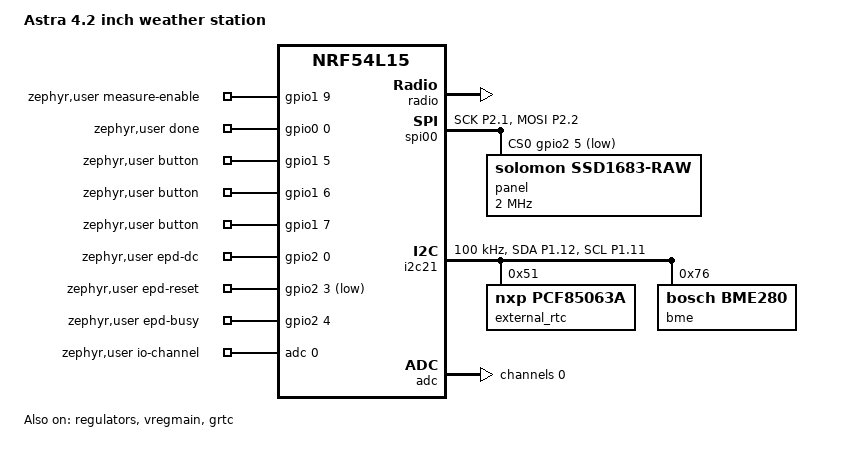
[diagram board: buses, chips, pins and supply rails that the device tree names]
/dts-v1/;
#include <nordic/nrf54l15_cpuapp.dtsi>
#include <zephyr/dt-bindings/adc/adc.h>
#include <zephyr/dt-bindings/adc/nrf-saadc-nrf54l.h>

/ {
	model = "Astra 4.2 inch weather station";
	compatible = "astra,weather-station";
	chosen {
		zephyr,sram = &cpuapp_sram;
		zephyr,flash-controller = &rram_controller;
		zephyr,flash = &cpuapp_rram;
		zephyr,code-partition = &application;
	};
	zephyr,user {
		io-channels = <&adc 0>;
		measure-enable-gpios = <&gpio1 9 GPIO_ACTIVE_HIGH>;
		done-gpios = <&gpio0 0 GPIO_ACTIVE_HIGH>;
		button-gpios = <&gpio1 5 GPIO_ACTIVE_HIGH>, <&gpio1 6 GPIO_ACTIVE_HIGH>,
			       <&gpio1 7 GPIO_ACTIVE_HIGH>;
		epd-dc-gpios = <&gpio2 0 GPIO_ACTIVE_HIGH>;
		epd-reset-gpios = <&gpio2 3 GPIO_ACTIVE_LOW>;
		epd-busy-gpios = <&gpio2 4 GPIO_ACTIVE_HIGH>;
	};
};

&cpuapp_rram {
	partitions {
		compatible = "fixed-partitions";
		#address-cells = <1>;
		#size-cells = <1>;
		application: partition@0 { label = "application"; reg = <0x0 0x15d000>; };
		panel_state: partition@15d000 { label = "panel-state"; reg = <0x15d000 0x8000>; };
	};
};
&cpuapp_sram { status = "okay"; };
&gpio0 { status = "okay"; };
&gpio1 { status = "okay"; };
&gpio2 { status = "okay"; };
&gpiote20 { status = "okay"; };
&gpiote30 { status = "okay"; };
&clock { status = "okay"; };
&hfxo {
	load-capacitors = "internal";
	load-capacitance-femtofarad = <15000>;
};
&lfxo {
	load-capacitors = "internal";
	load-capacitance-femtofarad = <17000>;
};
&regulators { status = "okay"; };
&vregmain {
	status = "okay";
	regulator-initial-mode = <NRF5X_REG_MODE_DCDC>;
};
&grtc {
	owned-channels = <0 1 2 3 4 5 6 7 8 9 10 11>;
	child-owned-channels = <3 4 7 8 9 10 11>;
	status = "okay";
};
&radio { status = "okay"; };
&pinctrl {
	astra_spi: astra-spi {
		group1 { psels = <NRF_PSEL(SPIM_SCK, 2, 1)>, <NRF_PSEL(SPIM_MOSI, 2, 2)>; };
	};
	astra_i2c: astra-i2c {
		group1 { psels = <NRF_PSEL(TWIM_SDA, 1, 12)>, <NRF_PSEL(TWIM_SCL, 1, 11)>; };
	};
};
&spi00 {
	status = "okay";
	pinctrl-0 = <&astra_spi>;
	pinctrl-names = "default";
	cs-gpios = <&gpio2 5 GPIO_ACTIVE_LOW>;
	panel: epd@0 {
		compatible = "solomon,ssd1683-raw";
		reg = <0>;
		spi-max-frequency = <2000000>;
		spi-cs-setup-delay-ns = <1000>;
		spi-cs-hold-delay-ns = <1000>;
	};
};
&i2c21 {
	status = "okay";
	clock-frequency = <100000>;
	pinctrl-0 = <&astra_i2c>;
	pinctrl-names = "default";
	external_rtc: rtc@51 { compatible = "nxp,pcf85063a"; reg = <0x51>; };
	bme: bme280@76 { compatible = "bosch,bme280"; reg = <0x76>; };
};
&adc {
	status = "okay";
	#address-cells = <1>;
	#size-cells = <0>;
	channel@0 {
		reg = <0>;
		zephyr,gain = "ADC_GAIN_1_3";
		zephyr,reference = "ADC_REF_INTERNAL";
		zephyr,acquisition-time = <ADC_ACQ_TIME(ADC_ACQ_TIME_MICROSECONDS, 40)>;
		zephyr,input-positive = <NRF_SAADC_AIN0>;
		zephyr,resolution = <12>;
	};
};
